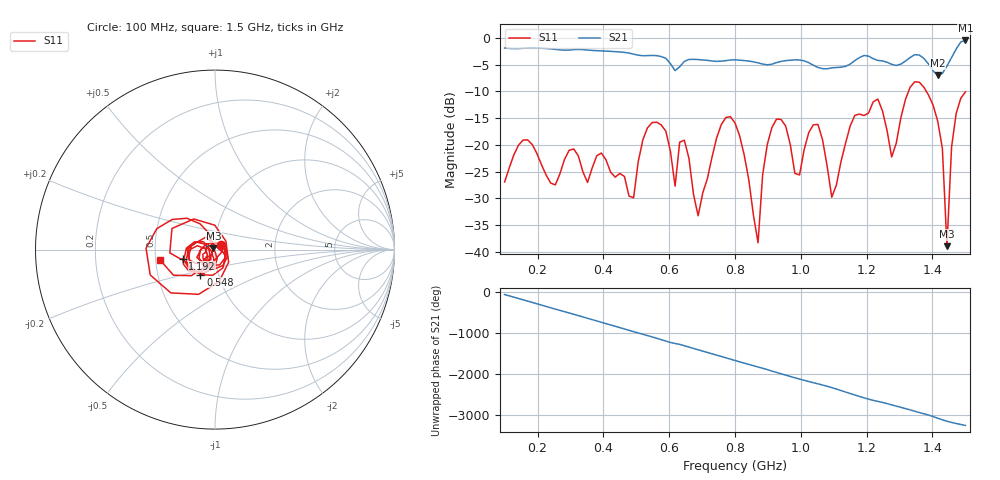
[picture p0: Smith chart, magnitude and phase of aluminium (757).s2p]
! NanoVNA-App
! Date: 2025-09-25 15:01:10
! Start: 100MHz Stop: 1,5GHz Points: 101
! S-Parameter data: F S11 S21 S12 S22
# Hz S RI R 50
!  Frequency  S11_Real  S11_Imag  S21_Real  S21_Imag  S12_Real  S12_Imag  S22_Real  S22_Imag
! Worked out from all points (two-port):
!   101 points, 100 MHz to 1.5 GHz, reference 50 ohm
!   highest |S21| = -0.51 dB at 1.5 GHz (marker M1); lowest = -7.0 dB at 1.416 GHz (marker M2)
!   |S21| within 3 dB of the highest: start of sweep to 575.4 MHz; 1.46 GHz to end of sweep (the widest 2 of 4)
!   lowest |S11| = -38.9 dB at 1.444 GHz (marker M3), VSWR 1.02, Z = 49.1 + j0.71 ohm
!   |S11| at or under -10 dB: start of sweep to 1.327 GHz; 1.381 GHz to end of sweep
!   S12 and S22 are empty: the file has one direction only
!   S11 on the Smith chart (normalised r, x): 100 MHz: 1.07, +0.06; 548 MHz: 0.82, -0.23; 1.192 GHz: 0.69, -0.07; 1.5 GHz: 0.53, -0.07
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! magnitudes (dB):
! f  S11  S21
! 100 MHz  -27.0  -1.9
! 156 MHz  -19.1  -2.0
! 338 MHz  -25.1  -2.2
! 492 MHz  -29.9  -3.1
! 548 MHz  -15.9  -3.3
! 576 MHz  -16.3  -3.5
! 618 MHz  -27.7  -6.1
! 646 MHz  -19.2  -4.4
! 688 MHz  -33.3  -4.1
! 800 MHz  -15.9  -4.1
! 870 MHz  -38.3  -4.7
! 912 MHz  -16.8  -4.9
! 996 MHz  -25.6  -4.2
! 1.038 GHz  -16.3  -5.1
! 1.094 GHz  -29.8  -5.6
! 1.192 GHz  -14.5  -3.3
! 1.276 GHz  -22.3  -5.0
! 1.346 GHz  -8.2  -3.2
! 1.416 GHz  -15.6  -7.0
! 1.444 GHz  -38.9  -5.3
! 1.458 GHz  -20.4  -3.7
! 1.5 GHz  -10.1  -0.5
